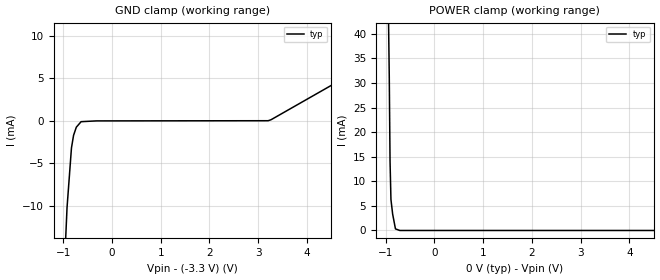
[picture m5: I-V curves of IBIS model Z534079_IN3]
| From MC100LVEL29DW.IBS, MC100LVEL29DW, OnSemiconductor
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| (C) COPYRIGHT 1993-2000
| MENTOR GRAPHICS CORPORATION
| ICX STANDARD LIBRARY, ICX PROJECT MODELING,
| ICX CUSTOM MODELING, ICX VENDOR MODEL
| ALL RIGHTS RESERVED.
| THE FOLLOWING ARE TRADEMARKS OR SERVICE MARKS OF
| MENTOR GRAPHICS CORPORATION:ICX (R), ICX STANDARD
| LIBRARY(R), ICX PROJECT MODELING(R), ICX CUSTOM
| MODELING(R), qualityIBIS(TM), MODELVIEWER(TM),
| AND MODELEDITOR(TM)
| ALL COPIES OF SOFTWARE, INCLUDING BUT NOT LIMITED TO
| ANY MODIFICATIONS, ENHANCEMENTS OR DERIVATIVE WORKS,
| MUST CONTAIN ALL MENTOR GRAPHICS CORPORATION'S
| NOTICES AND LEGENDS, INCLUDING THOSE EMBEDDED IN
| SOFTWARE AND THOSE AFFIXED TO SOFTWARE MEDIUM
| AND CONTAINER, AS RECEIVED FROM MENTOR GRAPHICS
| CORPORATION.
| Model Application Version 1.89 2/18/99.
[Model] Z534079_IN3
Model_type Input_ECL
Vinl = -1.900V
Vinh = -1.600V
C_comp 4.000pF NA NA
| variable typ   min   max
[Voltage Range] -3.300V NA NA
[GND Clamp Reference] -3.300V NA NA
[POWER Clamp Reference] 0.000V NA NA
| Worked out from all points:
|   GND clamp passes 1 mA (typ) near -0.75 V on its own axis
|   POWER clamp passes 1 mA (typ) near -0.81 V on its own axis
[GND Clamp]
-3.3V     -425.6mA   NA         NA
-1.03V    -24.25mA   NA         NA
-923mV    -10.26mA   NA         NA
-832mV    -3.202mA   NA         NA
-789mV    -1.715mA   NA         NA
-732mV    -749uA     NA         NA
-634mV    -100.5uA   NA         NA
-317mV    -8.095uA   NA         NA
3.204V    12.21uA    NA         NA
3.263V    125.3uA    NA         NA
6.6V      11.05mA    NA         NA
[POWER Clamp]
-3.3V     1.844A     NA         NA
-928.3mV  31.27mA    NA         NA
-912.2mV  14.03mA    NA         NA
-893.8mV  6.291mA    NA         NA
-858.7mV  3.32mA     NA         NA
-801.3mV  323.5uA    NA         NA
-712.3mV  0A         NA         NA
6.6V      0A         NA         NA
